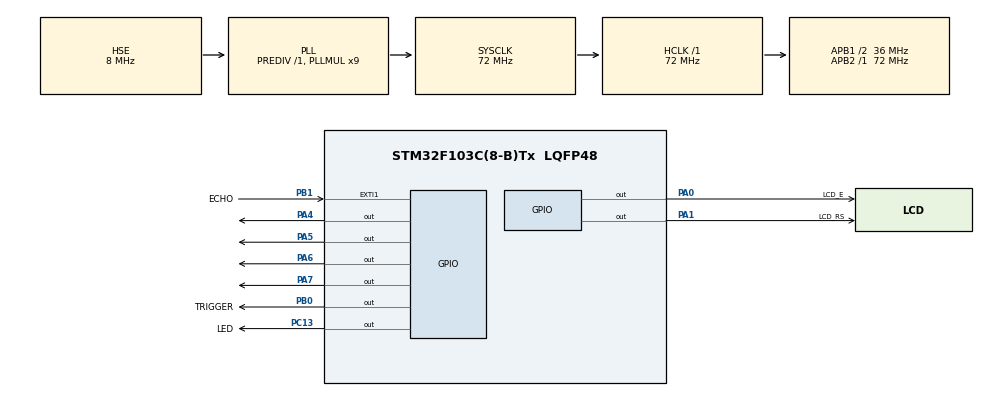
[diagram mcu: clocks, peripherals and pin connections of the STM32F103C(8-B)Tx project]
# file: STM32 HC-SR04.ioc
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Mcu.Family=STM32F1
Mcu.Name=STM32F103C(8-B)Tx
Mcu.Package=LQFP48
NVIC.EXTI1_IRQn=true\:0\:0\:false\:false\:true\:true\:true\:true
NVIC.PriorityGroup=NVIC_PRIORITYGROUP_4
PA0-WKUP.GPIO_Label=LCD_E
PA0-WKUP.Signal=GPIO_Output
PA1.GPIO_Label=LCD_RS
PA1.Signal=GPIO_Output
PA4.Signal=GPIO_Output
PA5.Signal=GPIO_Output
PA6.Signal=GPIO_Output
PA7.Signal=GPIO_Output
PB0.GPIO_Label=TRIGGER
PB0.Signal=GPIO_Output
PB1.GPIO_Label=ECHO
PB1.GPIO_ModeDefaultEXTI=GPIO_MODE_IT_RISING_FALLING
PB1.Signal=GPXTI1
PC13-TAMPER-RTC.GPIO_Label=LED
PC13-TAMPER-RTC.Signal=GPIO_Output
PD0-OSC_IN.Mode=HSE-External-Oscillator
PD0-OSC_IN.Signal=RCC_OSC_IN
PD1-OSC_OUT.Mode=HSE-External-Oscillator
PD1-OSC_OUT.Signal=RCC_OSC_OUT
ProjectManager.HeapSize=0x200
ProjectManager.StackSize=0x400
ProjectManager.TargetToolchain=STM32CubeIDE
RCC.AHBFreq_Value=72000000
RCC.APB1CLKDivider=RCC_HCLK_DIV2
RCC.APB1Freq_Value=36000000
RCC.APB1TimFreq_Value=72000000
RCC.APB2Freq_Value=72000000
RCC.APB2TimFreq_Value=72000000
RCC.HCLKFreq_Value=72000000
RCC.PLLMUL=RCC_PLL_MUL9
RCC.PLLSourceVirtual=RCC_PLLSOURCE_HSE
RCC.SYSCLKFreq_VALUE=72000000
RCC.SYSCLKSource=RCC_SYSCLKSOURCE_PLLCLK
RCC.USBFreq_Value=72000000
TIM3.Prescaler=71
VP_TIM3_VS_ClockSourceINT.Mode=Internal
board=custom

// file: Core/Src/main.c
/* USER CODE BEGIN Header */
/**
  ******************************************************************************
  * @file           : main.c
  * @brief          : Main program body
  ******************************************************************************
  * @attention
  *
  * Copyright (c) 2022 STMicroelectronics.
  * All rights reserved.
  *
  * This software is licensed under terms that can be found in the LICENSE file
  * in the root directory of this software component.
  * If no LICENSE file comes with this software, it is provided AS-IS.
  *
  ******************************************************************************
  */
/* USER CODE END Header */
#include "main.h"
#include "tim.h"
#include "gpio.h"

/* USER CODE BEGIN Includes */
#include "lcd.h"
#include "hc_sr04.h"
#include <stdio.h>
#include <string.h>
/* USER CODE END Includes */

void SystemClock_Config(void);

int main(void)
{
  /* USER CODE BEGIN 1 */
   float Distance;
   uint8_t Buffer[17];
   uint8_t Status;
  /* USER CODE END 1 */

  /* MCU Configuration--------------------------------------------------------*/

  /* Reset of all peripherals, Initializes the Flash interface and the Systick. */
  HAL_Init();

  /* Configure the system clock */
  SystemClock_Config();

  /* Initialize all configured peripherals */
  MX_GPIO_Init();
  MX_TIM3_Init();
  /* USER CODE BEGIN 2 */
  LCD_Init_4Bit();
  LCD_Text((uint8_t*)"HC-SR04", 7);
  HAL_TIM_Base_Start(&htim3);
  /* USER CODE END 2 */

  /* Infinite loop */
  while (1)
  {

    /* USER CODE BEGIN 3 */
	  HAL_GPIO_TogglePin(LED_GPIO_Port, LED_Pin);
	  Distance = Get_Distance();
	  LCD_Cursor(2, 0);
	  sprintf((char*)Buffer,"Range: %.2f cm",Distance);
	  LCD_Text(Buffer, strlen((char*)Buffer));

	  LCD_Cursor(1, 0);
	  if(Distance>15){

		  LCD_Text((uint8_t*)"Status Normal", strlen((char*)"Status Normal"));
	  }
	  else{
		  LCD_Text((uint8_t*)"Status Alarm  ", strlen((char*)"Status Alarm  "));
	  }
	  HAL_Delay(200);
  }
  /* USER CODE END 3 */
}

void SystemClock_Config(void)
{
  RCC_OscInitTypeDef RCC_OscInitStruct = {0};
  RCC_ClkInitTypeDef RCC_ClkInitStruct = {0};

  /** Initializes the RCC Oscillators according to the specified parameters
  * in the RCC_OscInitTypeDef structure.
  */
  RCC_OscInitStruct.OscillatorType = RCC_OSCILLATORTYPE_HSE;
  RCC_OscInitStruct.HSEState = RCC_HSE_ON;
  RCC_OscInitStruct.HSEPredivValue = RCC_HSE_PREDIV_DIV1;
  RCC_OscInitStruct.HSIState = RCC_HSI_ON;
  RCC_OscInitStruct.PLL.PLLState = RCC_PLL_ON;
  RCC_OscInitStruct.PLL.PLLSource = RCC_PLLSOURCE_HSE;
  RCC_OscInitStruct.PLL.PLLMUL = RCC_PLL_MUL9;
  if (HAL_RCC_OscConfig(&RCC_OscInitStruct) != HAL_OK)
  {
    Error_Handler();
  }

  /** Initializes the CPU, AHB and APB buses clocks
  */
  RCC_ClkInitStruct.ClockType = RCC_CLOCKTYPE_HCLK|RCC_CLOCKTYPE_SYSCLK
                              |RCC_CLOCKTYPE_PCLK1|RCC_CLOCKTYPE_PCLK2;
  RCC_ClkInitStruct.SYSCLKSource = RCC_SYSCLKSOURCE_PLLCLK;
  RCC_ClkInitStruct.AHBCLKDivider = RCC_SYSCLK_DIV1;
  RCC_ClkInitStruct.APB1CLKDivider = RCC_HCLK_DIV2;
  RCC_ClkInitStruct.APB2CLKDivider = RCC_HCLK_DIV1;

  if (HAL_RCC_ClockConfig(&RCC_ClkInitStruct, FLASH_LATENCY_2) != HAL_OK)
  {
    Error_Handler();
  }
}

void Error_Handler(void)
{
  __disable_irq();
  while (1)
  {
  }
}
